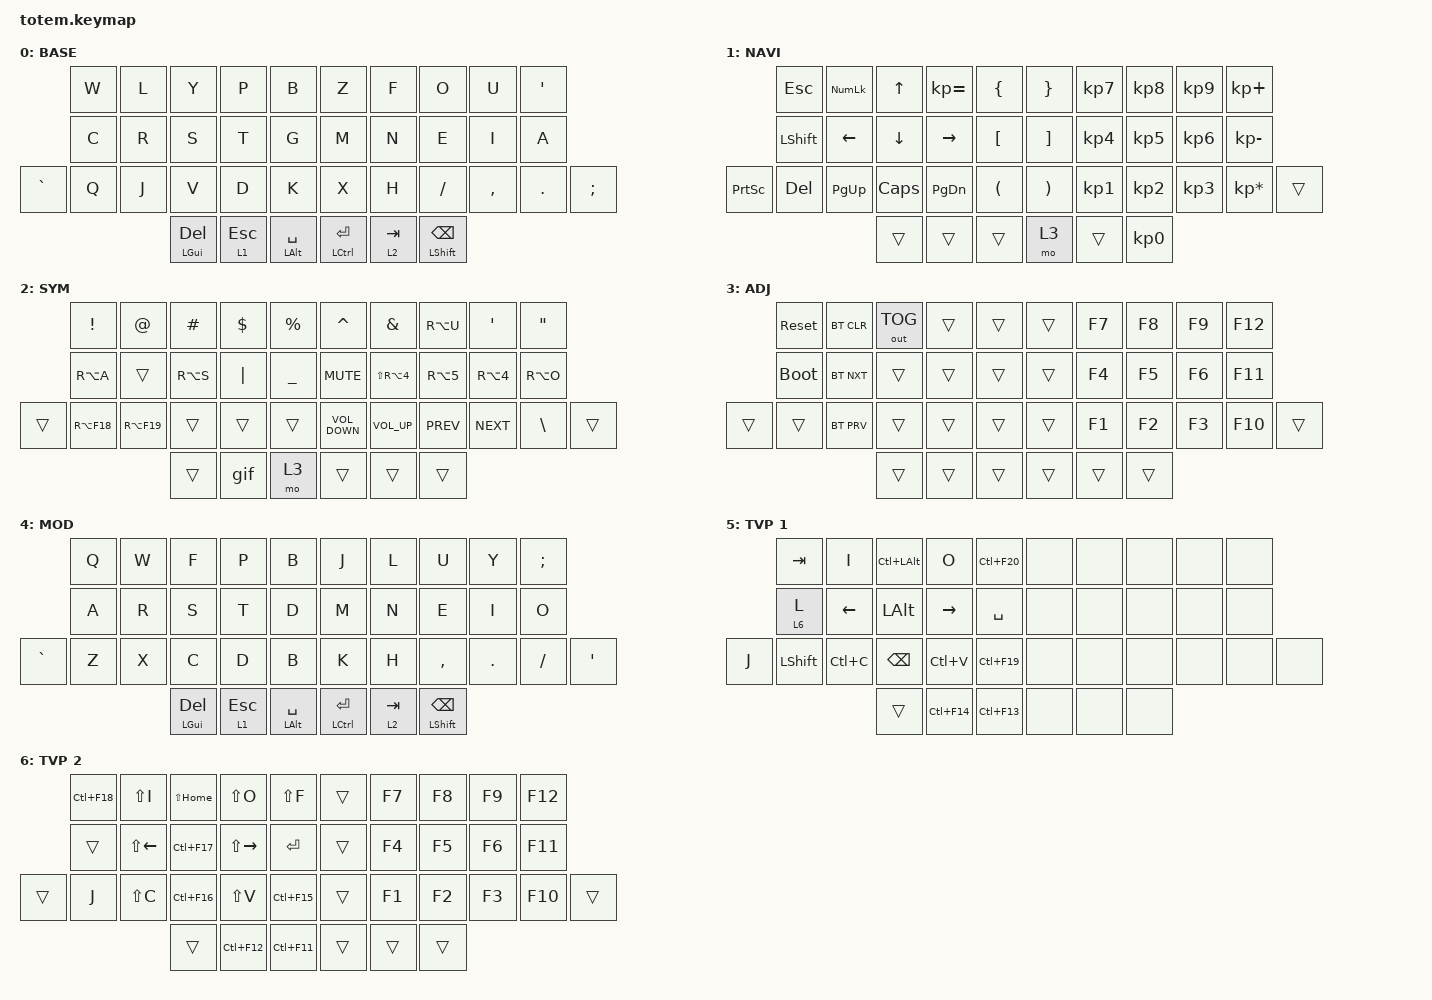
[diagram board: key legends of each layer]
//
//                                                        ▀▀▀▀▀     ▀▀▀▀▀          ▀▀█▀▀
//                                                        ▄▀▀▀▄  ▄  ▄▀▀▀▄  ▄  ▄▀▀▀▄  █  ▄▀▀▀▄
//                                                        █   █  █  █   █  █  █   █  █  █   █
//                                                         ▀▀▀   █   ▀▀▀   █   ▀▀▀   ▀   ▀▀▀
//                                                               █      ▄▄▄█▄▄▄    █   █  
//                                                               ▀      █  █  █     █▄█
//                                                             ▀▀▀▀▀    █  █  █      ▀
//                                                                      ▀  ▀  ▀
//
// ▄▄▄▄▄▄▄▄▄▄▄▄▄▄▄▄▄▄▄▄▄▄▄▄▄▄▄▄▄▄▄▄▄▄▄▄▄▄▄▄▄▄▄▄▄▄▄▄▄▄▄▄▄▄▄▄▄▄▄▄▄▄▄▄▄▄▄▄▄▄▄▄▄▄▄▄▄▄▄▄▄▄▄▄▄▄▄▄▄▄▄▄▄▄▄▄▄▄▄▄▄▄▄▄▄▄▄▄▄▄▄▄▄▄▄▄▄▄▄▄▄▄▄▄▄▄▄▄▄▄▄▄▄▄▄▄▄▄▄▄▄▄▄▄▄▄▄▄▄

#include <behaviors.dtsi>
#include <dt-bindings/zmk/bt.h>
#include <dt-bindings/zmk/keys.h>
#include <dt-bindings/zmk/outputs.h>

#define BASE 0
#define NAV  1
#define SYM  2
#define ADJ  3
#define TVP1 4
#define TVP2 5

&mt {
    quick-tap-ms = <100>;
    global-quick-tap;
    flavor = "tap-preferred";
    tapping-term-ms = <170>;
};

/ {
    combos {
        compatible = "zmk,combos";

        combo_esc {
            timeout-ms = <50>;
            key-positions = <0 1>;
            bindings = <&kp ESC>;
        };

        combo_cnr {
            timeout-ms = <100>;
            key-positions = <11 12 13>;
            bindings = <&tog 4>;
        };
    };

    macros {
        gif: gif {
            label = "giphy";
            compatible = "zmk,behavior-macro";
            #binding-cells = <0>;
            bindings =
                <&macro_press>,
                <&kp LSHFT>,
                <&macro_tap>,
                <&kp N2>,
                <&macro_release>,
                <&kp LSHFT>,
                <&macro_tap>,
                <&kp G &kp I &kp F>;
        };
    };

    keymap {
        compatible = "zmk,keymap";

        // ▄▄▄▄▄▄▄▄▄▄▄▄▄▄▄▄▄▄▄▄▄▄▄▄▄▄▄▄▄▄▄▄▄▄▄▄▄▄▄▄▄▄▄▄▄▄▄▄▄▄▄▄▄▄▄▄▄▄▄▄▄▄▄▄▄▄▄▄▄▄▄▄▄▄▄▄▄▄▄▄▄▄▄▄▄▄▄▄▄▄▄▄▄▄▄▄▄▄▄▄▄▄▄▄▄▄▄▄▄▄▄▄▄▄▄▄▄▄▄▄▄▄▄▄▄▄▄▄▄▄▄▄▄▄▄▄▄▄▄▄▄▄▄▄▄▄▄▄▄

        canary_layer {
            bindings = <
           &kp W  &kp L  &kp Y             &kp P         &kp B             &kp Z            &kp F      &kp O                     &kp U      &kp SQT
           &kp C  &kp R  &kp S             &kp T         &kp G             &kp M            &kp N      &kp E                     &kp I      &kp A
&kp GRAVE  &kp Q  &kp J  &kp V             &kp D         &kp K             &kp X            &kp H      &kp SLASH                 &kp COMMA  &kp PERIOD  &kp SEMICOLON
                         &mt LEFT_GUI DEL  &lt 1 ESCAPE  &mt LALT SPACE    &mt LCTRL ENTER  &lt 2 TAB  &mt LEFT_SHIFT BACKSPACE
            >;

            label = "BASE";
        };

        nav_layer {
            // ┏━━━━━━━━━━━━━━━━━━━━━━━━━━━━━━━━━━━━━━━┓

            label = "NAVI";

            // ┗━━━━━━━━━━━━━━━━━━━━━━━━━━━━━━━━━━━━━━━┛
            //             ┏━━━━━━━━━━━┳━━━━━━━━━━━┳━━━━━━━━━━━┳━━━━━━━━━━━┳━━━━━━━━━━━┓   ┏━━━━━━━━━━━┳━━━━━━━━━━━┳━━━━━━━━━━━┳━━━━━━━━━━━┳━━━━━━━━━━━┓
            //             ┃           ┃           ┃     UP    ┃           ┃     {     ┃   ┃     }     ┃     7     ┃     8     ┃     9     ┃     +     ┃
            //             ┣━━━━━━━━━━━╋━━━━━━━━━━━╋━━━━━━━━━━━╋━━━━━━━━━━━╋━━━━━━━━━━━┫   ┣━━━━━━━━━━━╋━━━━━━━━━━━╋━━━━━━━━━━━╋━━━━━━━━━━━╋━━━━━━━━━━━┫
            //             ┃   SHIFT   ┃   LEFT    ┃    DOWN   ┃   RIGHT   ┃     [     ┃   ┃     ]     ┃     4     ┃     5     ┃     6     ┃     -     ┃
            // ┏━━━━━━━━━━━╋━━━━━━━━━━━╋━━━━━━━━━━━╋━━━━━━━━━━━╋━━━━━━━━━━━╋━━━━━━━━━━━┫   ┣━━━━━━━━━━━╋━━━━━━━━━━━╋━━━━━━━━━━━╋━━━━━━━━━━━╋━━━━━━━━━━━╋━━━━━━━━━━━┓
            // ┃           ┃           ┃   P UP    ┃  C LOCK   ┃  P DOWN   ┃     (     ┃   ┃     )     ┃     1     ┃     2     ┃     3     ┃     *     ┃           ┃
            // ┗━━━━━━━━━━━┻━━━━━━━━━━━┻━━━━━━━━━━━╋━━━━━━━━━━━╋━━━━━━━━━━━╋━━━━━━━━━━━┫   ┣━━━━━━━━━━━╋━━━━━━━━━━━╋━━━━━━━━━━━╋━━━━━━━━━━━┻━━━━━━━━━━━┻━━━━━━━━━━━┛
            //                                     ┃           ┃    TAB    ┃    SPC    ┃   ┃    DEL    ┃     0     ┃           ┃
            //                                     ┗━━━━━━━━━━━┻━━━━━━━━━━━┻━━━━━━━━━━━┛   ┗━━━━━━━━━━━┻━━━━━━━━━━━┻━━━━━━━━━━━┛

            bindings = <
                 &kp ESC    &kp KP_NUMLOCK  &kp UP    &kp KP_EQUAL  &kp LBRC    &kp RBRC  &kp KP_N7  &kp KP_N8  &kp KP_N9  &kp KP_PLUS
                 &kp LSHFT  &kp LEFT        &kp DOWN  &kp RIGHT     &kp LBKT    &kp RBKT  &kp KP_N4  &kp KP_N5  &kp KP_N6  &kp KP_MINUS
&kp PRINTSCREEN  &kp DEL    &kp PG_UP       &kp CAPS  &kp PG_DN     &kp LPAR    &kp RPAR  &kp KP_N1  &kp KP_N2  &kp KP_N3  &kp KP_MULTIPLY  &trans
                                            &trans    &trans        &trans      &mo 3     &trans     &kp KP_N0
            >;
        };

        sim_layer {
            // ┏━━━━━━━━━━━━━━━━━━━━━━━━━━━━━━━━━━━━━━━┓

            label = "SYM";

            // ┗━━━━━━━━━━━━━━━━━━━━━━━━━━━━━━━━━━━━━━━┛
            //             ┏━━━━━━━━━━━┳━━━━━━━━━━━┳━━━━━━━━━━━┳━━━━━━━━━━━┳━━━━━━━━━━━┓   ┏━━━━━━━━━━━┳━━━━━━━━━━━┳━━━━━━━━━━━┳━━━━━━━━━━━┳━━━━━━━━━━━┓
            //             ┃     !     ┃     @     ┃     #     ┃     $     ┃     %     ┃   ┃     ˆ     ┃     &     ┃     Ü     ┃     '     ┃     "     ┃
            //             ┣━━━━━━━━━━━╋━━━━━━━━━━━╋━━━━━━━━━━━╋━━━━━━━━━━━╋━━━━━━━━━━━┫   ┣━━━━━━━━━━━╋━━━━━━━━━━━╋━━━━━━━━━━━╋━━━━━━━━━━━╋━━━━━━━━━━━┫
            //             ┃     Ä     ┃           ┃    SZ     ┃           ┃           ┃   ┃   MUTE    ┃   YEN     ┃   EURO    ┃  POUND    ┃     Ö     ┃
            // ┏━━━━━━━━━━━╋━━━━━━━━━━━╋━━━━━━━━━━━╋━━━━━━━━━━━╋━━━━━━━━━━━╋━━━━━━━━━━━┫   ┣━━━━━━━━━━━╋━━━━━━━━━━━╋━━━━━━━━━━━╋━━━━━━━━━━━╋━━━━━━━━━━━╋━━━━━━━━━━━┓
            // ┃           ┃  EMAIL1   ┃  EMAIL2   ┃           ┃           ┃           ┃   ┃   VOL-    ┃   VOL+    ┃   LAST    ┃   NEXT    ┃     \     ┃           ┃
            // ┗━━━━━━━━━━━┻━━━━━━━━━━━┻━━━━━━━━━━━╋━━━━━━━━━━━╋━━━━━━━━━━━╋━━━━━━━━━━━┫   ┣━━━━━━━━━━━╋━━━━━━━━━━━╋━━━━━━━━━━━╋━━━━━━━━━━━┻━━━━━━━━━━━┻━━━━━━━━━━━┛
            //                                     ┃           ┃    GIF    ┃    ADJ    ┃   ┃           ┃           ┃           ┃
            //                                     ┗━━━━━━━━━━━┻━━━━━━━━━━━┻━━━━━━━━━━━┛   ┗━━━━━━━━━━━┻━━━━━━━━━━━┻━━━━━━━━━━━┛

            bindings = <
        &kp EXCL     &kp AT       &kp HASH   &kp DLLR  &kp PRCNT    &kp CARET          &kp AMPS         &kp RA(U)   &kp SQT     &kp DQT
        &kp RA(A)    &trans       &kp RA(S)  &kp PIPE  &kp UNDER    &kp C_MUTE         &kp LS(RA(N4))   &kp RA(N5)  &kp RA(N4)  &kp RA(O)
&trans  &kp RA(F18)  &kp RA(F19)  &trans     &trans    &trans       &kp C_VOLUME_DOWN  &kp C_VOLUME_UP  &kp C_PREV  &kp C_NEXT  &kp BSLH   &trans
                                  &trans     &gif      &mo 3        &trans             &trans           &trans
            >;
        };

        adjust_layer {
            // ┏━━━━━━━━━━━━━━━━━━━━━━━━━━━━━━━━━━━━━━━┓

            label = "ADJ";

            // ┗━━━━━━━━━━━━━━━━━━━━━━━━━━━━━━━━━━━━━━━┛
            //             ┏━━━━━━━━━━━┳━━━━━━━━━━━┳━━━━━━━━━━━┳━━━━━━━━━━━┳━━━━━━━━━━━┓   ┏━━━━━━━━━━━┳━━━━━━━━━━━┳━━━━━━━━━━━┳━━━━━━━━━━━┳━━━━━━━━━━━┓
            //             ┃   RESET   ┃ BT CLEAR  ┃  OUT TOG  ┃           ┃           ┃   ┃           ┃    F7     ┃    F8     ┃    F9     ┃    F12    ┃
            //             ┣━━━━━━━━━━━╋━━━━━━━━━━━╋━━━━━━━━━━━╋━━━━━━━━━━━╋━━━━━━━━━━━┫   ┣━━━━━━━━━━━╋━━━━━━━━━━━╋━━━━━━━━━━━╋━━━━━━━━━━━╋━━━━━━━━━━━┫
            //             ┃ BOOTLOAD  ┃ BT NEXT   ┃           ┃           ┃           ┃   ┃           ┃    F4     ┃    F5     ┃    F6     ┃    F11    ┃
            // ┏━━━━━━━━━━━╋━━━━━━━━━━━╋━━━━━━━━━━━╋━━━━━━━━━━━╋━━━━━━━━━━━╋━━━━━━━━━━━┫   ┣━━━━━━━━━━━╋━━━━━━━━━━━╋━━━━━━━━━━━╋━━━━━━━━━━━╋━━━━━━━━━━━╋━━━━━━━━━━━┓
            // ┃           ┃           ┃ BT PREV   ┃           ┃           ┃           ┃   ┃           ┃    F1     ┃    F2     ┃    F3     ┃    F10    ┃           ┃
            // ┗━━━━━━━━━━━┻━━━━━━━━━━━┻━━━━━━━━━━━╋━━━━━━━━━━━╋━━━━━━━━━━━╋━━━━━━━━━━━┫   ┣━━━━━━━━━━━╋━━━━━━━━━━━╋━━━━━━━━━━━╋━━━━━━━━━━━┻━━━━━━━━━━━┻━━━━━━━━━━━┛
            //                                     ┃           ┃           ┃           ┃   ┃           ┃           ┃           ┃
            //                                     ┗━━━━━━━━━━━┻━━━━━━━━━━━┻━━━━━━━━━━━┛   ┗━━━━━━━━━━━┻━━━━━━━━━━━┻━━━━━━━━━━━┛

            bindings = <
        &sys_reset   &bt BT_CLR  &out OUT_TOG  &trans  &trans    &trans  &kp F7  &kp F8  &kp F9  &kp F12
        &bootloader  &bt BT_NXT  &trans        &trans  &trans    &trans  &kp F4  &kp F5  &kp F6  &kp F11
&trans  &trans       &bt BT_PRV  &trans        &trans  &trans    &trans  &kp F1  &kp F2  &kp F3  &kp F10  &trans
                                 &trans        &trans  &trans    &trans  &trans  &trans
            >;
        };

        colemak_layer {
            // ┏━━━━━━━━━━━━━━━━━━━━━━━━━━━━━━━━━━━━━━━┓

            label = "MOD";

            // ┗━━━━━━━━━━━━━━━━━━━━━━━━━━━━━━━━━━━━━━━┛
            //             ┏━━━━━━━━━━━┳━━━━━━━━━━━┳━━━━━━━━━━━┳━━━━━━━━━━━┳━━━━━━━━━━━┓   ┏━━━━━━━━━━━┳━━━━━━━━━━━┳━━━━━━━━━━━┳━━━━━━━━━━━┳━━━━━━━━━━━┓
            //             ┃     Q     ┃     W     ┃     F     ┃     P     ┃     G     ┃   ┃     J     ┃     L     ┃     U     ┃     Y     ┃     ;     ┃
            //             ┣━━━━━━━━━━━╋━━━━━━━━━━━╋━━━━━━━━━━━╋━━━━━━━━━━━╋━━━━━━━━━━━┫   ┣━━━━━━━━━━━╋━━━━━━━━━━━╋━━━━━━━━━━━╋━━━━━━━━━━━╋━━━━━━━━━━━┫
            //             ┃     A     ┃     R     ┃     S     ┃     T     ┃     D     ┃   ┃     H     ┃     N     ┃     E     ┃     I     ┃     O     ┃
            // ┏━━━━━━━━━━━╋━━━━━━━━━━━╋━━━━━━━━━━━╋━━━━━━━━━━━╋━━━━━━━━━━━╋━━━━━━━━━━━┫   ┣━━━━━━━━━━━╋━━━━━━━━━━━╋━━━━━━━━━━━╋━━━━━━━━━━━╋━━━━━━━━━━━╋━━━━━━━━━━━┓
            // ┃     Q     ┃     Z     ┃     X     ┃     C     ┃     V     ┃     B     ┃   ┃     K     ┃     M     ┃     ,     ┃     .     ┃     /     ┃     \     ┃
            // ┗━━━━━━━━━━━┻━━━━━━━━━━━┻━━━━━━━━━━━╋━━━━━━━━━━━╋━━━━━━━━━━━╋━━━━━━━━━━━┫   ┣━━━━━━━━━━━╋━━━━━━━━━━━╋━━━━━━━━━━━╋━━━━━━━━━━━┻━━━━━━━━━━━┻━━━━━━━━━━━┛
            //                                     ┃    DEL    ┃    TAB    ┃    SPC    ┃   ┃   ENTER   ┃           ┃   BSPC    ┃
            //                                     ┗━━━━━━━━━━━┻━━━━━━━━━━━┻━━━━━━━━━━━┛   ┗━━━━━━━━━━━┻━━━━━━━━━━━┻━━━━━━━━━━━┛

            bindings = <
           &kp Q  &kp W  &kp F             &kp P         &kp B                 &kp J            &kp L      &kp U                     &kp Y    &kp SEMI
           &kp A  &kp R  &kp S             &kp T         &kp D                 &kp M            &kp N      &kp E                     &kp I    &kp O
&kp GRAVE  &kp Z  &kp X  &kp C             &kp D         &kp B                 &kp K            &kp H      &kp COMMA                 &kp DOT  &kp FSLH  &kp SINGLE_QUOTE
                         &mt LEFT_GUI DEL  &lt 1 ESCAPE  &mt LEFT_ALT SPACE    &mt LCTRL ENTER  &lt 2 TAB  &mt LEFT_SHIFT BACKSPACE
            >;
        };

        tvp1_layer {
            // ┏━━━━━━━━━━━━━━━━━━━━━━━━━━━━━━━━━━━━━━━┓

            label = "TVP 1";

            // ┗━━━━━━━━━━━━━━━━━━━━━━━━━━━━━━━━━━━━━━━┛
            //             ┏━━━━━━━━━━━┳━━━━━━━━━━━┳━━━━━━━━━━━┳━━━━━━━━━━━┳━━━━━━━━━━━┓   ┏━━━━━━━━━━━┳━━━━━━━━━━━┳━━━━━━━━━━━┳━━━━━━━━━━━┳━━━━━━━━━━━┓
            //             ┃ NEXT FILE ┃ MARK IN   ┃ ROTATE    ┃ MARK OUT  ┃ SHOW SNAP ┃   ┃           ┃           ┃           ┃           ┃           ┃
            //             ┣━━━━━━━━━━━╋━━━━━━━━━━━╋━━━━━━━━━━━╋━━━━━━━━━━━╋━━━━━━━━━━━┫   ┣━━━━━━━━━━━╋━━━━━━━━━━━╋━━━━━━━━━━━╋━━━━━━━━━━━╋━━━━━━━━━━━┫
            //             ┃ TVP II    ┃ LEFT      ┃ PAN       ┃ RIGHT     ┃ PLAY/FLIP ┃   ┃           ┃           ┃           ┃           ┃           ┃
            // ┏━━━━━━━━━━━╋━━━━━━━━━━━╋━━━━━━━━━━━╋━━━━━━━━━━━╋━━━━━━━━━━━╋━━━━━━━━━━━┫   ┣━━━━━━━━━━━╋━━━━━━━━━━━╋━━━━━━━━━━━╋━━━━━━━━━━━╋━━━━━━━━━━━╋━━━━━━━━━━━┓
            // ┃ FULLSCR   ┃ SHIFT     ┃ COPY      ┃ DELETE    ┃ PASTE     ┃ IMG MARK  ┃   ┃           ┃           ┃           ┃           ┃           ┃           ┃
            // ┗━━━━━━━━━━━┻━━━━━━━━━━━┻━━━━━━━━━━━╋━━━━━━━━━━━╋━━━━━━━━━━━╋━━━━━━━━━━━┫   ┣━━━━━━━━━━━╋━━━━━━━━━━━╋━━━━━━━━━━━╋━━━━━━━━━━━┻━━━━━━━━━━━┻━━━━━━━━━━━┛
            //                                     ┃           ┃ UNDO/SAVE ┃  SEL/MOV  ┃   ┃           ┃           ┃           ┃
            //                                     ┗━━━━━━━━━━━┻━━━━━━━━━━━┻━━━━━━━━━━━┛   ┗━━━━━━━━━━━┻━━━━━━━━━━━┻━━━━━━━━━━━┛

            bindings = <
       &kp TAB    &kp I      &kp LC(LALT)  &kp O        &kp LC(F20)    &none  &none  &none  &none  &none
       &lt 6 L    &kp LEFT   &kp LALT      &kp RIGHT    &kp SPACE      &none  &none  &none  &none  &none
&kp J  &kp LSHFT  &kp LC(C)  &kp BSPC      &kp LC(V)    &kp LC(F19)    &none  &none  &none  &none  &none  &none
                             &trans        &kp LC(F14)  &kp LC(F13)    &none  &none  &none
            >;
        };

        tvp2_layer {
            // ┏━━━━━━━━━━━━━━━━━━━━━━━━━━━━━━━━━━━━━━━┓

            label = "TVP 2";

            // ┗━━━━━━━━━━━━━━━━━━━━━━━━━━━━━━━━━━━━━━━┛
            //             ┏━━━━━━━━━━━┳━━━━━━━━━━━┳━━━━━━━━━━━┳━━━━━━━━━━━┳━━━━━━━━━━━┓   ┏━━━━━━━━━━━┳━━━━━━━━━━━┳━━━━━━━━━━━┳━━━━━━━━━━━┳━━━━━━━━━━━┓
            //             ┃ SOLO      ┃ TOGGLE IN ┃ RESET ROT ┃ TOGGLE OUT┃ TAKE SNAP ┃   ┃           ┃           ┃           ┃           ┃           ┃
            //             ┣━━━━━━━━━━━╋━━━━━━━━━━━╋━━━━━━━━━━━╋━━━━━━━━━━━╋━━━━━━━━━━━┫   ┣━━━━━━━━━━━╋━━━━━━━━━━━╋━━━━━━━━━━━╋━━━━━━━━━━━╋━━━━━━━━━━━┫
            //             ┃ ---       ┃ LAST KEY  ┃ NEW KEY   ┃ NEXT KEY  ┃ ENTER     ┃   ┃           ┃           ┃           ┃           ┃           ┃
            // ┏━━━━━━━━━━━╋━━━━━━━━━━━╋━━━━━━━━━━━╋━━━━━━━━━━━╋━━━━━━━━━━━╋━━━━━━━━━━━┫   ┣━━━━━━━━━━━╋━━━━━━━━━━━╋━━━━━━━━━━━╋━━━━━━━━━━━╋━━━━━━━━━━━╋━━━━━━━━━━━┓
            // ┃           ┃ FULLSCR   ┃ CPY2BRUSH ┃ DEL HEAD  ┃ PSTinPLACE┃ BOOK MARK ┃   ┃           ┃           ┃           ┃           ┃           ┃           ┃
            // ┗━━━━━━━━━━━┻━━━━━━━━━━━┻━━━━━━━━━━━╋━━━━━━━━━━━╋━━━━━━━━━━━╋━━━━━━━━━━━┫   ┣━━━━━━━━━━━╋━━━━━━━━━━━╋━━━━━━━━━━━╋━━━━━━━━━━━┻━━━━━━━━━━━┻━━━━━━━━━━━┛
            //                                     ┃           ┃ REDO/SAV1 ┃TRANS/WARP ┃   ┃           ┃           ┃           ┃
            //                                     ┗━━━━━━━━━━━┻━━━━━━━━━━━┻━━━━━━━━━━━┛   ┗━━━━━━━━━━━┻━━━━━━━━━━━┻━━━━━━━━━━━┛

            bindings = <
        &kp LC(F18)  &kp LS(I)     &kp LS(HOME)  &kp LS(O)      &kp LS(F)      &trans  &kp F7  &kp F8  &kp F9  &kp F12
        &trans       &kp LS(LEFT)  &kp LC(F17)   &kp LS(RIGHT)  &kp RET        &trans  &kp F4  &kp F5  &kp F6  &kp F11
&trans  &kp J        &kp LS(C)     &kp LC(F16)   &kp LS(V)      &kp LC(F15)    &trans  &kp F1  &kp F2  &kp F3  &kp F10  &trans
                                   &trans        &kp LC(F12)    &kp LC(F11)    &trans  &trans  &trans
            >;
        };
    };
};
